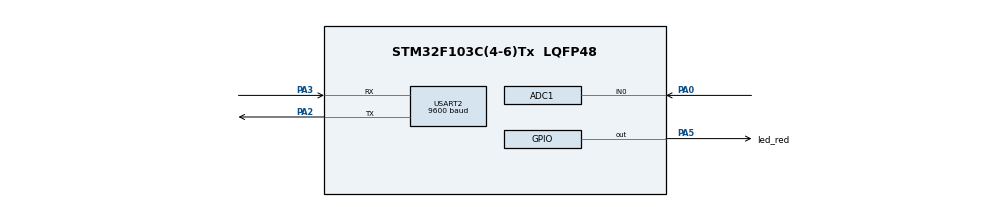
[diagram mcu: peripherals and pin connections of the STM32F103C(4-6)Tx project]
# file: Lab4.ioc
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ADC1.Channel-1\#ChannelRegularConversion=ADC_CHANNEL_0
ADC1.ContinuousConvMode=ENABLE
ADC1.NbrOfConversionFlag=1
ADC1.Rank-1\#ChannelRegularConversion=1
ADC1.SamplingTime-1\#ChannelRegularConversion=ADC_SAMPLETIME_1CYCLE_5
ADC1.master=1
Mcu.Family=STM32F1
Mcu.Name=STM32F103C(4-6)Tx
Mcu.Package=LQFP48
NVIC.PriorityGroup=NVIC_PRIORITYGROUP_4
NVIC.TIM2_IRQn=true\:0\:0\:false\:false\:true\:true\:true\:true
NVIC.USART2_IRQn=true\:0\:0\:false\:false\:true\:true\:true\:true
PA0-WKUP.Signal=ADCx_IN0
PA2.Mode=Asynchronous
PA2.Signal=USART2_TX
PA3.Mode=Asynchronous
PA3.Signal=USART2_RX
PA5.GPIO_Label=led_red
PA5.Signal=GPIO_Output
ProjectManager.HeapSize=0x200
ProjectManager.StackSize=0x400
ProjectManager.TargetToolchain=STM32CubeIDE
RCC.APB1Freq_Value=8000000
RCC.APB2Freq_Value=8000000
SH.ADCx_IN0.0=ADC1_IN0,IN0
TIM2.Period=10-1
TIM2.Prescaler=8000-1
USART2.BaudRate=9600
USART2.VirtualMode=VM_ASYNC
VP_TIM2_VS_ClockSourceINT.Mode=Internal
board=custom

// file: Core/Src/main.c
/* USER CODE BEGIN Header */
/**
  ******************************************************************************
  * @file           : main.c
  * @brief          : Main program body
  ******************************************************************************
  * @attention
  *
  * Copyright (c) 2023 STMicroelectronics.
  * All rights reserved.
  *
  * This software is licensed under terms that can be found in the LICENSE file
  * in the root directory of this software component.
  * If no LICENSE file comes with this software, it is provided AS-IS.
  *
  ******************************************************************************
  */
/* USER CODE END Header */
#include "main.h"

/* USER CODE BEGIN Includes */
#include "global.h"
/* USER CODE END Includes */

ADC_HandleTypeDef hadc1;

TIM_HandleTypeDef htim2;

UART_HandleTypeDef huart2;

void SystemClock_Config(void);
static void MX_GPIO_Init(void);
static void MX_ADC1_Init(void);
static void MX_USART2_UART_Init(void);
static void MX_TIM2_Init(void);

/* USER CODE BEGIN 0 */
//uint8_t temp = 0;
void HAL_UART_RxCpltCallback(UART_HandleTypeDef* huart)
{
//	if(huart->Instance == USART2)
//	{
//		HAL_UART_Transmit(&huart2, &temp, 1, 50);
//		HAL_UART_Receive_IT(&huart2, &temp, 1);
//	}
	if(huart -> Instance == USART2){
		HAL_UART_Transmit (&huart2 , &temp, 1, 50);
		buffer[index_buffer++] = temp;
		if(index_buffer == MAX_BUFFER_SIZE) index_buffer = 0;
		buffer_flag = 1;
		HAL_UART_Receive_IT (&huart2 , &temp, 1);
	}
}
/* USER CODE END 0 */

int main(void)
{

  /* MCU Configuration--------------------------------------------------------*/

  /* Reset of all peripherals, Initializes the Flash interface and the Systick. */
  HAL_Init();

  /* Configure the system clock */
  SystemClock_Config();

  /* Initialize all configured peripherals */
  MX_GPIO_Init();
  MX_ADC1_Init();
  MX_USART2_UART_Init();
  MX_TIM2_Init();
  /* USER CODE BEGIN 2 */
  HAL_TIM_Base_Start_IT(&htim2);
  HAL_UART_Receive_IT(&huart2, &temp, 1);
  /* USER CODE END 2 */

  /* Infinite loop */
  /* USER CODE BEGIN WHILE */
  Set_timer(1000, 1);
  Set_timer(1000, 0);
  while (1)
  {
//	  HAL_GPIO_TogglePin(led_red_GPIO_Port, led_red_Pin);
//	  HAL_ADC_Start(&hadc1);
//	  ADC_value = HAL_ADC_GetValue(&hadc1);
//	  HAL_ADC_Stop(&hadc1);
//	  HAL_UART_Transmit(&huart2, (void*)string, sprintf(string,"%lu\r\n",ADC_value), 1000);
//	  HAL_Delay(500);
	  if(timer_flag[1] == 1)
	  {
		  HAL_GPIO_TogglePin(led_red_GPIO_Port, led_red_Pin);
		  HAL_ADC_Start(&hadc1);
		  ADC_value = HAL_ADC_GetValue(&hadc1);
		  HAL_ADC_Stop(&hadc1);
		  Set_timer(1000, 1);
	  }

	  if(buffer_flag == 1){
		  command_parser_fsm();
		  buffer_flag = 0;
	  }
	  uart_communication_fsm();
    /* USER CODE END WHILE */

  }
}

void SystemClock_Config(void)
{
  RCC_OscInitTypeDef RCC_OscInitStruct = {0};
  RCC_ClkInitTypeDef RCC_ClkInitStruct = {0};
  RCC_PeriphCLKInitTypeDef PeriphClkInit = {0};

  /** Initializes the RCC Oscillators according to the specified parameters
  * in the RCC_OscInitTypeDef structure.
  */
  RCC_OscInitStruct.OscillatorType = RCC_OSCILLATORTYPE_HSI;
  RCC_OscInitStruct.HSIState = RCC_HSI_ON;
  RCC_OscInitStruct.HSICalibrationValue = RCC_HSICALIBRATION_DEFAULT;
  RCC_OscInitStruct.PLL.PLLState = RCC_PLL_NONE;
  if (HAL_RCC_OscConfig(&RCC_OscInitStruct) != HAL_OK)
  {
    Error_Handler();
  }

  /** Initializes the CPU, AHB and APB buses clocks
  */
  RCC_ClkInitStruct.ClockType = RCC_CLOCKTYPE_HCLK|RCC_CLOCKTYPE_SYSCLK
                              |RCC_CLOCKTYPE_PCLK1|RCC_CLOCKTYPE_PCLK2;
  RCC_ClkInitStruct.SYSCLKSource = RCC_SYSCLKSOURCE_HSI;
  RCC_ClkInitStruct.AHBCLKDivider = RCC_SYSCLK_DIV1;
  RCC_ClkInitStruct.APB1CLKDivider = RCC_HCLK_DIV1;
  RCC_ClkInitStruct.APB2CLKDivider = RCC_HCLK_DIV1;

  if (HAL_RCC_ClockConfig(&RCC_ClkInitStruct, FLASH_LATENCY_0) != HAL_OK)
  {
    Error_Handler();
  }
  PeriphClkInit.PeriphClockSelection = RCC_PERIPHCLK_ADC;
  PeriphClkInit.AdcClockSelection = RCC_ADCPCLK2_DIV2;
  if (HAL_RCCEx_PeriphCLKConfig(&PeriphClkInit) != HAL_OK)
  {
    Error_Handler();
  }
}

static void MX_ADC1_Init(void)
{

  ADC_ChannelConfTypeDef sConfig = {0};

  /** Common config
  */
  hadc1.Instance = ADC1;
  hadc1.Init.ScanConvMode = ADC_SCAN_DISABLE;
  hadc1.Init.ContinuousConvMode = ENABLE;
  hadc1.Init.DiscontinuousConvMode = DISABLE;
  hadc1.Init.ExternalTrigConv = ADC_SOFTWARE_START;
  hadc1.Init.DataAlign = ADC_DATAALIGN_RIGHT;
  hadc1.Init.NbrOfConversion = 1;
  if (HAL_ADC_Init(&hadc1) != HAL_OK)
  {
    Error_Handler();
  }

  /** Configure Regular Channel
  */
  sConfig.Channel = ADC_CHANNEL_0;
  sConfig.Rank = ADC_REGULAR_RANK_1;
  sConfig.SamplingTime = ADC_SAMPLETIME_1CYCLE_5;
  if (HAL_ADC_ConfigChannel(&hadc1, &sConfig) != HAL_OK)
  {
    Error_Handler();
  }

}

static void MX_TIM2_Init(void)
{

  TIM_ClockConfigTypeDef sClockSourceConfig = {0};
  TIM_MasterConfigTypeDef sMasterConfig = {0};

  htim2.Instance = TIM2;
  htim2.Init.Prescaler = 8000-1;
  htim2.Init.CounterMode = TIM_COUNTERMODE_UP;
  htim2.Init.Period = 10-1;
  htim2.Init.ClockDivision = TIM_CLOCKDIVISION_DIV1;
  htim2.Init.AutoReloadPreload = TIM_AUTORELOAD_PRELOAD_DISABLE;
  if (HAL_TIM_Base_Init(&htim2) != HAL_OK)
  {
    Error_Handler();
  }
  sClockSourceConfig.ClockSource = TIM_CLOCKSOURCE_INTERNAL;
  if (HAL_TIM_ConfigClockSource(&htim2, &sClockSourceConfig) != HAL_OK)
  {
    Error_Handler();
  }
  sMasterConfig.MasterOutputTrigger = TIM_TRGO_RESET;
  sMasterConfig.MasterSlaveMode = TIM_MASTERSLAVEMODE_DISABLE;
  if (HAL_TIMEx_MasterConfigSynchronization(&htim2, &sMasterConfig) != HAL_OK)
  {
    Error_Handler();
  }

}

static void MX_USART2_UART_Init(void)
{

  huart2.Instance = USART2;
  huart2.Init.BaudRate = 9600;
  huart2.Init.WordLength = UART_WORDLENGTH_8B;
  huart2.Init.StopBits = UART_STOPBITS_1;
  huart2.Init.Parity = UART_PARITY_NONE;
  huart2.Init.Mode = UART_MODE_TX_RX;
  huart2.Init.HwFlowCtl = UART_HWCONTROL_NONE;
  huart2.Init.OverSampling = UART_OVERSAMPLING_16;
  if (HAL_UART_Init(&huart2) != HAL_OK)
  {
    Error_Handler();
  }

}

static void MX_GPIO_Init(void)
{
  GPIO_InitTypeDef GPIO_InitStruct = {0};

  /* GPIO Ports Clock Enable */
  __HAL_RCC_GPIOA_CLK_ENABLE();

  /*Configure GPIO pin Output Level */
  HAL_GPIO_WritePin(led_red_GPIO_Port, led_red_Pin, GPIO_PIN_RESET);

  /*Configure GPIO pin : led_red_Pin */
  GPIO_InitStruct.Pin = led_red_Pin;
  GPIO_InitStruct.Mode = GPIO_MODE_OUTPUT_PP;
  GPIO_InitStruct.Pull = GPIO_NOPULL;
  GPIO_InitStruct.Speed = GPIO_SPEED_FREQ_LOW;
  HAL_GPIO_Init(led_red_GPIO_Port, &GPIO_InitStruct);

}

/* USER CODE BEGIN 4 */
void HAL_TIM_PeriodElapsedCallback(TIM_HandleTypeDef *htim)
{
	Run_timer();
	//getKeyInput();
}
/* USER CODE END 4 */

void Error_Handler(void)
{
  __disable_irq();
  while (1)
  {
  }
}
